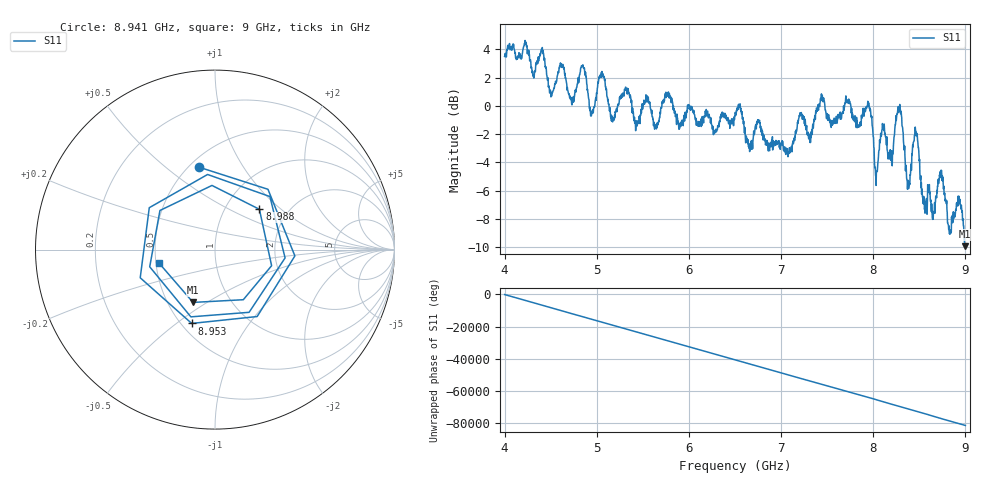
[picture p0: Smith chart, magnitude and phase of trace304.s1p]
! Created with skrf 1.8.0 (http://scikit-rf.org).
# Hz S RI R 50.0
!freq ReS11 ImS11
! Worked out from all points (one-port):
!   1601 points, 4 GHz to 9 GHz, reference 50 ohm
!   lowest |S11| = -9.9 dB at 8.997 GHz (marker M1), VSWR 1.94, Z = 33.4 - j21.9 ohm
!   |S11| at or under -10 dB: nowhere
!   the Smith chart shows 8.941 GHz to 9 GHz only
!   S11 on the Smith chart (normalised r, x): 8.941 GHz: 0.56, +0.66; 8.953 GHz: 0.56, -0.57; 8.988 GHz: 1.44, +0.73; 9 GHz: 0.52, -0.09
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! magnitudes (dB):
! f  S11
! 4 GHz  3.5
! 4.409 GHz  4.1
! 4.509 GHz  0.7
! 4.625 GHz  2.8
! 4.731 GHz  0.1
! 4.853 GHz  2.8
! 4.944 GHz  -0.6
! 5.047 GHz  2.1
! 5.172 GHz  -1.1
! 5.25 GHz  0.5
! 5.875 GHz  -0.8
! 6.5 GHz  -0.7
! 7.125 GHz  -2.7
! 7.447 GHz  0.7
! 7.75 GHz  0.2
! 7.959 GHz  -0.2
! 8.038 GHz  -4.6
! 8.284 GHz  -0.4
! 8.375 GHz  -5.3
! 8.459 GHz  -1.7
! 8.559 GHz  -7.2
! 8.731 GHz  -5.1
! 8.831 GHz  -9.0
! 8.941 GHz  -6.6
! 8.953 GHz  -7.3
! 8.988 GHz  -9.5
! 8.997 GHz  -9.9
! 9 GHz  -9.9
